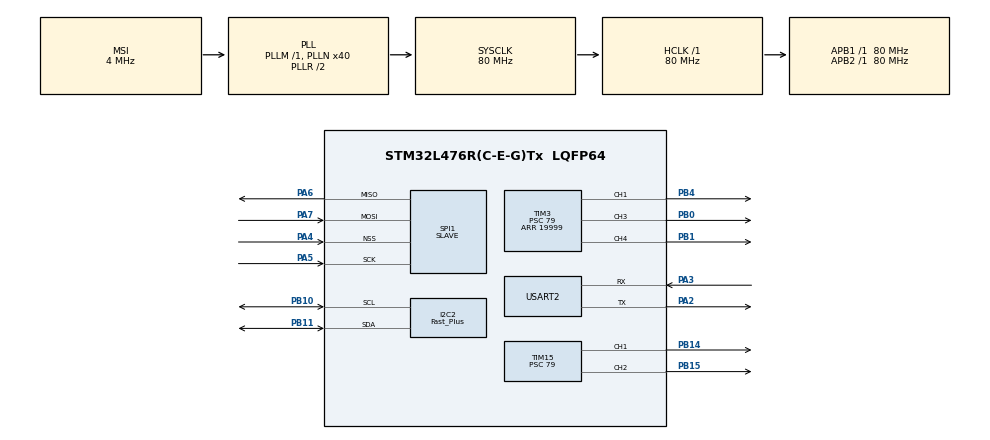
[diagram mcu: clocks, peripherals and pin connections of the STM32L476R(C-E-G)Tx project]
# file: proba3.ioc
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Dma.Request0=USART2_TX
Dma.Request1=SPI1_RX
Dma.SPI1_RX.1.Direction=DMA_PERIPH_TO_MEMORY
Dma.SPI1_RX.1.Instance=DMA1_Channel2
Dma.SPI1_RX.1.MemDataAlignment=DMA_MDATAALIGN_BYTE
Dma.SPI1_RX.1.MemInc=DMA_MINC_ENABLE
Dma.SPI1_RX.1.Mode=DMA_NORMAL
Dma.SPI1_RX.1.PeriphDataAlignment=DMA_PDATAALIGN_BYTE
Dma.SPI1_RX.1.PeriphInc=DMA_PINC_DISABLE
Dma.SPI1_RX.1.Priority=DMA_PRIORITY_HIGH
Dma.USART2_TX.0.Direction=DMA_MEMORY_TO_PERIPH
Dma.USART2_TX.0.Instance=DMA1_Channel7
Dma.USART2_TX.0.MemDataAlignment=DMA_MDATAALIGN_BYTE
Dma.USART2_TX.0.MemInc=DMA_MINC_ENABLE
Dma.USART2_TX.0.Mode=DMA_NORMAL
Dma.USART2_TX.0.PeriphDataAlignment=DMA_PDATAALIGN_BYTE
Dma.USART2_TX.0.PeriphInc=DMA_PINC_DISABLE
Dma.USART2_TX.0.Priority=DMA_PRIORITY_LOW
I2C2.I2C_Speed_Mode=I2C_Fast_Plus
I2C2.Timing=0x00B10E24
Mcu.Family=STM32L4
Mcu.Name=STM32L476R(C-E-G)Tx
Mcu.Package=LQFP64
NVIC.DMA1_Channel2_IRQn=true\:0\:0\:false\:false\:true\:false\:true\:true
NVIC.DMA1_Channel7_IRQn=true\:0\:0\:false\:false\:true\:false\:true\:true
NVIC.PriorityGroup=NVIC_PRIORITYGROUP_4
NVIC.TIM1_TRG_COM_TIM17_IRQn=true\:0\:0\:false\:false\:true\:true\:true\:true
NVIC.TIM1_UP_TIM16_IRQn=true\:0\:0\:false\:false\:true\:true\:true\:true
NVIC.TIM6_DAC_IRQn=true\:0\:0\:false\:false\:true\:true\:true\:true
NVIC.TIM7_IRQn=true\:0\:0\:false\:false\:true\:true\:true\:true
NVIC.USART2_IRQn=true\:0\:0\:false\:false\:true\:true\:true\:true
PA2.Mode=Asynchronous
PA2.Signal=USART2_TX
PA3.Mode=Asynchronous
PA3.Signal=USART2_RX
PA4.Mode=NSS_Signal_Hard_Input
PA4.Signal=SPI1_NSS
PA5.Mode=Full_Duplex_Slave
PA5.Signal=SPI1_SCK
PA6.Mode=Full_Duplex_Slave
PA6.Signal=SPI1_MISO
PA7.Mode=Full_Duplex_Slave
PA7.Signal=SPI1_MOSI
PB0.Signal=S_TIM3_CH3
PB1.Signal=S_TIM3_CH4
PB10.GPIO_Pu=GPIO_PULLUP
PB10.Mode=I2C
PB10.Signal=I2C2_SCL
PB11.Mode=I2C
PB11.Signal=I2C2_SDA
PB14.Signal=S_TIM15_CH1
PB15.Signal=S_TIM15_CH2
PB4\ (NJTRST).Signal=S_TIM3_CH1
ProjectManager.HeapSize=0x200
ProjectManager.StackSize=0x400
ProjectManager.TargetToolchain=STM32CubeIDE
RCC.ADCFreq_Value=16000000
RCC.AHBFreq_Value=80000000
RCC.APB1Freq_Value=80000000
RCC.APB1TimFreq_Value=80000000
RCC.APB2Freq_Value=80000000
RCC.APB2TimFreq_Value=80000000
RCC.CortexFreq_Value=80000000
RCC.HCLKFreq_Value=80000000
RCC.HSE_VALUE=8000000
RCC.HSI_VALUE=16000000
RCC.LSE_VALUE=32768
RCC.MSI_VALUE=4000000
RCC.PLLN=40
RCC.SYSCLKFreq_VALUE=80000000
RCC.SYSCLKSource=RCC_SYSCLKSOURCE_PLLCLK
RCC.USBFreq_Value=16000000
RCC.VCOOutputFreq_Value=160000000
SH.S_TIM15_CH1.0=TIM15_CH1,PWM Generation1 CH1
SH.S_TIM15_CH2.0=TIM15_CH2,PWM Generation2 CH2
SH.S_TIM3_CH1.0=TIM3_CH1,PWM Generation1 CH1
SH.S_TIM3_CH3.0=TIM3_CH3,PWM Generation3 CH3
SH.S_TIM3_CH4.0=TIM3_CH4,PWM Generation4 CH4
SPI1.DataSize=SPI_DATASIZE_8BIT
SPI1.Direction=SPI_DIRECTION_2LINES
SPI1.Mode=SPI_MODE_SLAVE
SPI1.VirtualNSS=VM_NSSHARD
SPI1.VirtualType=VM_SLAVE
TIM15.Channel-PWM\ Generation1\ CH1=TIM_CHANNEL_1
TIM15.Channel-PWM\ Generation2\ CH2=TIM_CHANNEL_2
TIM15.Period=19999
TIM15.Prescaler=79
TIM16.Period=999
TIM16.Prescaler=7999
TIM17.Period=999
TIM17.Prescaler=79
TIM3.Channel-PWM\ Generation1\ CH1=TIM_CHANNEL_1
TIM3.Channel-PWM\ Generation3\ CH3=TIM_CHANNEL_3
TIM3.Channel-PWM\ Generation4\ CH4=TIM_CHANNEL_4
TIM3.Period=19999
TIM3.Prescaler=79
TIM6.Period=29999
TIM6.Prescaler=7999
TIM7.Period=19
TIM7.Prescaler=7999
USART2.VirtualMode-Asynchronous=VM_ASYNC
VP_TIM16_VS_ClockSourceINT.Mode=Enable_Timer
VP_TIM17_VS_ClockSourceINT.Mode=Enable_Timer
VP_TIM6_VS_ClockSourceINT.Mode=Enable_Timer
VP_TIM7_VS_ClockSourceINT.Mode=Enable_Timer
board=custom

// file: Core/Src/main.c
/* USER CODE BEGIN Header */
/**
  ******************************************************************************
  * @file           : main.c
  * @brief          : Main program body
  ******************************************************************************
  * @attention
  *
  * Copyright (c) 2025 STMicroelectronics.
  * All rights reserved.
  *
  * This software is licensed under terms that can be found in the LICENSE file
  * in the root directory of this software component.
  * If no LICENSE file comes with this software, it is provided AS-IS.
  *
  ******************************************************************************
  */
/* USER CODE END Header */
#include "main.h"

/* USER CODE BEGIN Includes */
#include <stdio.h>
#include <stdbool.h>
#include <string.h>
#include <math.h>
#include <stdint.h>

/* USER CODE END Includes */

/* USER CODE BEGIN PTD */
#define MPU9250_ADDR (0x68 << 1)
#define AK8963_ADDR  (0x0C << 1)

#define FRAME_MARKER 699
#define RPI_CONTROL_TIMEOUT_MS 400

// Rejestry MPU9250
#define REG_PWR_MGMT_1   0x6B
#define REG_USER_CTRL    0x6A
#define REG_INT_PIN_CFG  0x37
#define REG_ACCEL_XOUT_H 0x3B

//inne
#define INTEGRATOR_LIMIT 30.0f

// Rejestry magnetometru AK8963
#define AK8963_REG_CNTL1 0x0A
#define AK8963_REG_HXL   0x03
#define TELEMETRY_BUF_LEN 152

volatile float sin_phase = 0.0f;

#define SIN_AMPL_DEG 8.0f
#define SIN_FREQ_HZ 0.1f

#define MOTOR1_TIM      (&htim3)
#define MOTOR1_CH       TIM_CHANNEL_4

#define MOTOR2_TIM      (&htim15)
#define MOTOR2_CH       TIM_CHANNEL_2

#define MOTOR3_TIM      (&htim3)
#define MOTOR3_CH       TIM_CHANNEL_1

#define MOTOR4_TIM      (&htim15)
#define MOTOR4_CH       TIM_CHANNEL_1

#define GYRO_RATE_LIMIT 300.0f // deg/s, na start

#define PWM_MIN           1150
#define PWM_MAX           1500

#define PWM_MIN_M2           1150
#define PWM_MAX_M2           1500

#define PWM_MIN_M1        1350
#define PWM_MAX_M1        1700
#define PWM_MIN_M4         930
#define PWM_MAX_M4        1280

#define MAX_PWM_STEP_ALL  15U

#define ANGLE_DT (0.005f)  // 200 Hz

#define LEFT_FRONT_MOTOR   1
#define RIGHT_FRONT_MOTOR  2
#define RIGHT_REAR_MOTOR   3
#define LEFT_REAR_MOTOR    4

/* USER CODE END PTD */

/* USER CODE BEGIN PD */

typedef enum {
    ANGLE_SEQ_0,
    ANGLE_SEQ_1,
    ANGLE_SEQ_2,
    ANGLE_SEQ_3
} angle_seq_t;

volatile angle_seq_t angle_seq = ANGLE_SEQ_0;

volatile float desired_roll_deg  = 0.0f;
volatile float desired_pitch_deg = 0.0f;

volatile uint8_t imu_flag = 0;
volatile uint8_t imu_initialized = 0;
volatile float gyro_off_x = 0.0f, gyro_off_y = 0.0f, gyro_off_z = 0.0f;
volatile bool czy_zgoda_na_prace = false;

volatile bool czy_zgoda_na_prace_rpi5 = false;

volatile bool tilt_kill_active = false;

const float TILT_LIMIT_DEG = 40.0f;

volatile uint8_t spi_rx_ready = 0;    // flaga: nowy komplet danych gotowy do parsowania
volatile uint8_t spi_rx_buf[24];   // bufor odbiorczy DMA/IT - volatile bo modyfikowany w callback

float q0 = 1.0f, q1 = 0.0f, q2 = 0.0f, q3 = 0.0f;
float beta = 0.05f; // Madgwick gain

volatile uint8_t uart_tx_busy = 0;
static char telemetry_buf[2][TELEMETRY_BUF_LEN];
static uint8_t telemetry_idx = 0;

const float THROTTLE_MIN = 0.0f;
const float THROTTLE_MAX = 1.0f;
/* PID and filters */
typedef struct {
    float kp;
    float ki;
    float kd;

    float integrator;
    float last_error;
    float last_measurement;

    float output_min;
    float output_max;
} PID_t;

static inline float pid_update_rate(PID_t *pid,
                                    float setpoint,
                                    float measurement,
                                    float dt)
{
    if (dt <= 0.0f) return 0.0f;

    float error = setpoint - measurement;

    pid->integrator += error * dt;

    if (pid->integrator > INTEGRATOR_LIMIT)  pid->integrator = INTEGRATOR_LIMIT;
    if (pid->integrator < -INTEGRATOR_LIMIT) pid->integrator = -INTEGRATOR_LIMIT;

    float derivative = -(measurement - pid->last_measurement) / dt;
    pid->last_measurement = measurement;

    /* PID RAW */
    float out_p = pid->kp * error;
    float out_i = pid->ki * pid->integrator;
    float out_d = pid->kd * derivative;

    float out = out_p + out_i + out_d;

    if (out > pid->output_max) {
        out = pid->output_max;
        out_d = 0.0f;
    }
    if (out < pid->output_min) {
        out = pid->output_min;
        out_d = 0.0f;
    }

    return out;
}

PID_t pid_rate_roll = {
    .kp = 0.3f,
    .ki = 0.02f,
    .kd = 0.02f,
    .integrator = 0.0f,
    .last_error = 0.0f,
    .last_measurement = 0.0f,
    .output_min = -12.0f,
    .output_max =  12.0f
};

PID_t pid_rate_pitch = {
    .kp = 0.3f,
    .ki = 0.02f,
    .kd = 0.02f,
    .integrator = 0.0f,
    .last_error = 0.0f,
    .last_measurement = 0.0f,
    .output_min = -12.0f,
    .output_max =  12.0f
};

PID_t pid_rate_yaw = {
    .kp = 0.10f,
    .ki = 0.0f,
    .kd = 0.0f,
    .integrator = 0.0f,
    .last_error = 0.0f,
    .last_measurement = 0.0f,
    .output_min = -12.0f,
    .output_max =  12.0f
};

// Angle PIDs
PID_t pid_angle_roll = {
    .kp = 2.0f,
    .ki = 0.02f,
    .kd = 0.04f,
	.integrator = 0,
	    .last_error = 0,
    .output_min = -12.0f,
    .output_max = 12.0f
};

PID_t pid_angle_pitch = {
    .kp = 2.0f,
    .ki = 0.02f,
    .kd = 0.04f,
	.integrator = 0,
	    .last_error = 0,
    .output_min = -12.0f,
    .output_max = 12.0f
};

typedef struct
{   float a;
	float last;
	int init;
} LPF_t;

void lpf_init(LPF_t *f, float a)
	{ f->a = a;
	f->last = 0.0f;
	f->init = 0; }

float lpf_apply(LPF_t *f, float x) {
    if (!f->init)
    	{
    f->last = x;
    f->init = 1;
    return x;
    	}

    f->last = f->last * (1.0f - f->a) + x * f->a;
    return f->last;
}
LPF_t lpf_roll, lpf_pitch;
/* USER CODE END PD */

I2C_HandleTypeDef hi2c2;

SPI_HandleTypeDef hspi1;
DMA_HandleTypeDef hdma_spi1_rx;

TIM_HandleTypeDef htim3;
TIM_HandleTypeDef htim6;
TIM_HandleTypeDef htim7;
TIM_HandleTypeDef htim15;
TIM_HandleTypeDef htim16;
TIM_HandleTypeDef htim17;

UART_HandleTypeDef huart2;
DMA_HandleTypeDef hdma_usart2_tx;

void SystemClock_Config(void);
static void MX_GPIO_Init(void);
static void MX_DMA_Init(void);
static void MX_TIM3_Init(void);
static void MX_USART2_UART_Init(void);
static void MX_SPI1_Init(void);
static void MX_TIM15_Init(void);
static void MX_TIM6_Init(void);
static void MX_I2C2_Init(void);
static void MX_TIM7_Init(void);
static void MX_TIM17_Init(void);
static void MX_TIM16_Init(void);

/* USER CODE BEGIN 0 */
static inline void DWT_Init(void)
{
    if (!(CoreDebug->DEMCR & CoreDebug_DEMCR_TRCENA_Msk))
        CoreDebug->DEMCR |= CoreDebug_DEMCR_TRCENA_Msk;
    DWT->CYCCNT = 0;
    DWT->CTRL |= DWT_CTRL_CYCCNTENA_Msk;
}
static inline uint32_t micros(void)
{
    return (uint32_t)(DWT->CYCCNT / (HAL_RCC_GetHCLKFreq() / 1000000UL));
}

void MPU9250_Init(void) {
    uint8_t cmd;

    // wybudzenie, wyczyść sleep
    cmd = 0x00;
    HAL_I2C_Mem_Write(&hi2c2, MPU9250_ADDR, REG_PWR_MGMT_1, 1, &cmd, 1, 100);
    HAL_Delay(10);

    // wyłącz kontrolę użytkownika (FIFO itp.)
    cmd = 0x00;
    HAL_I2C_Mem_Write(&hi2c2, MPU9250_ADDR, REG_USER_CTRL, 1, &cmd, 1, 100);

    // INT_PIN_CFG ustaw
    cmd = 0x02;
    HAL_I2C_Mem_Write(&hi2c2, MPU9250_ADDR, REG_INT_PIN_CFG, 1, &cmd, 1, 100);

    HAL_Delay(10);

    // ustawienia zakresów:
    // GYRO_CONFIG (0x1B) -> FS_SEL = 01 -> ±500 dps -> 0x08
    cmd = 0x08;
    HAL_I2C_Mem_Write(&hi2c2, MPU9250_ADDR, 0x1B, 1, &cmd, 1, 100);

    // ACCEL_CONFIG (0x1C) -> AFS_SEL = 00 -> ±2 g -> 0x00
    cmd = 0x00;
    HAL_I2C_Mem_Write(&hi2c2, MPU9250_ADDR, 0x1C, 1, &cmd, 1, 100);

    // ACCEL_CONFIG2 (0x1D) -> DLPF ustawione na ~44Hz (wartość 0x03)
    cmd = 0x03;
    HAL_I2C_Mem_Write(&hi2c2, MPU9250_ADDR, 0x1D, 1, &cmd, 1, 100);

    HAL_Delay(10);

    // ustawienie AK8963 (mag) pozostawione bez zmian
    cmd = 0x16;
    HAL_I2C_Mem_Write(&hi2c2, AK8963_ADDR, AK8963_REG_CNTL1, 1, &cmd, 1, 100);
}

void Read_Sensors(float *ax, float *ay, float *az, float *gx, float *gy, float *gz,
                  float *mx, float *my, float *mz) {
    uint8_t buf[14];
    HAL_I2C_Mem_Read(&hi2c2, MPU9250_ADDR, REG_ACCEL_XOUT_H, 1, buf, 14, 100);
    int16_t ax_raw = (buf[0] << 8) | buf[1];
    int16_t ay_raw = (buf[2] << 8) | buf[3];
    int16_t az_raw = (buf[4] << 8) | buf[5];
    int16_t gx_raw = (buf[8]  << 8) | buf[9];
    int16_t gy_raw = (buf[10] << 8) | buf[11];
    int16_t gz_raw = (buf[12] << 8) | buf[13];

    const float ACCEL_SCALE = 16384.0f; // ±2 g
    const float GYRO_SCALE  = 65.536f;  // ±500 °/s

    *ax = ax_raw / ACCEL_SCALE;
    *ay = ay_raw / ACCEL_SCALE;
    *az = az_raw / ACCEL_SCALE;
    *gx = gx_raw / GYRO_SCALE;
    *gy = gy_raw / GYRO_SCALE;
    *gz = gz_raw / GYRO_SCALE;

    uint8_t mag[6];
    HAL_I2C_Mem_Read(&hi2c2, AK8963_ADDR, AK8963_REG_HXL, 1, mag, 6, 100);
    int16_t mx_raw = (mag[1] << 8) | mag[0];
    int16_t my_raw = (mag[3] << 8) | mag[2];
    int16_t mz_raw = (mag[5] << 8) | mag[4];
    *mx = mx_raw * 0.15f;
    *my = my_raw * 0.15f;
    *mz = mz_raw * 0.15f;
}

void MadgwickAHRSupdateIMU_dt(float gx, float gy, float gz,
                              float ax, float ay, float az,
                              float *q1, float *q2, float *q3, float *q0,
                              float beta, float dt)
{
    float recipNorm;
    float s0, s1, s2, s3;
    float qDot0, qDot1, qDot2, qDot3;

    float _2q0 = 2.0f * (*q0);
    float _2q1 = 2.0f * (*q1);
    float _2q2 = 2.0f * (*q2);
    float _2q3 = 2.0f * (*q3);
    float _4q0 = 4.0f * (*q0);
    float _4q1 = 4.0f * (*q1);
    float _4q2 = 4.0f * (*q2);

    float q0q0 = (*q0) * (*q0);
    float q1q1 = (*q1) * (*q1);
    float q2q2 = (*q2) * (*q2);
    float q3q3 = (*q3) * (*q3);

    recipNorm = sqrtf(ax * ax + ay * ay + az * az);
    if (recipNorm <= 0.0f) return;
    recipNorm = 1.0f / recipNorm;
    ax *= recipNorm; ay *= recipNorm; az *= recipNorm;

    s0 = _4q0 * q2q2 + _2q2 * ax + _4q0 * q1q1 - _2q1 * ay;
    s1 = _4q1 * q3q3 - _2q3 * ax + 4.0f * q0q0 * (*q1) - _2q0 * ay - _4q1 + _4q1 * az;
    s2 = 4.0f * q0q0 * (*q2) + _2q0 * ax + _4q2 * q3q3 - _2q3 * ay - _4q2 + _4q2 * az;
    s3 = 4.0f * q1q1 * (*q3) - _2q1 * ax + 4.0f * q2q2 * (*q3) - _2q2 * ay;

    recipNorm = 1.0f / sqrtf(s0*s0 + s1*s1 + s2*s2 + s3*s3);
    s0 *= recipNorm; s1 *= recipNorm; s2 *= recipNorm; s3 *= recipNorm;

    qDot0 = 0.5f * (-(*q1)*gx - (*q2)*gy - (*q3)*gz) - beta * s0;
    qDot1 = 0.5f * ((*q0)*gx + (*q2)*gz - (*q3)*gy) - beta * s1;
    qDot2 = 0.5f * ((*q0)*gy - (*q1)*gz + (*q3)*gx) - beta * s2;
    qDot3 = 0.5f * ((*q0)*gz + (*q1)*gy - (*q2)*gx) - beta * s3;

    *q0 += qDot0 * dt;
    *q1 += qDot1 * dt;
    *q2 += qDot2 * dt;
    *q3 += qDot3 * dt;

    recipNorm = 1.0f / sqrtf((*q0)*(*q0) + (*q1)*(*q1) + (*q2)*(*q2) + (*q3)*(*q3));
    *q0 *= recipNorm; *q1 *= recipNorm; *q2 *= recipNorm; *q3 *= recipNorm;
}

int send_telemetry_dma(const char *text, size_t len)
{
    if (len == 0 || len > TELEMETRY_BUF_LEN) return 1;
    if (uart_tx_busy) return 1;
    	telemetry_idx ^= 1;
    memcpy(telemetry_buf[telemetry_idx], text, len);
    uart_tx_busy = 1;
    if (HAL_UART_Transmit_DMA(&huart2, (uint8_t*)telemetry_buf[telemetry_idx], len) != HAL_OK) {
        uart_tx_busy = 0;
        return 1;
    }
    return 0;
}

void HAL_UART_TxCpltCallback(UART_HandleTypeDef *huart)
{
	uart_tx_busy = 0;

}

static inline void mixer_quad_x(float throttle, float roll_cmd, float pitch_cmd, float yaw_cmd,
                                uint32_t *out1, uint32_t *out2, uint32_t *out3, uint32_t *out4)
{

    // M1: lewy przód
       float m1 = throttle + roll_cmd - pitch_cmd + yaw_cmd;

       // M2: prawy przód
       float m2 = throttle - roll_cmd - pitch_cmd - yaw_cmd;

       // M3: prawy tył
       float m3 = throttle - roll_cmd + pitch_cmd + yaw_cmd;

       // M4: lewy tył
       float m4 = throttle + roll_cmd + pitch_cmd - yaw_cmd;
    // clamp 0..1
    if (m1 < 0.0f) m1 = 0.0f; if (m1 > 1.0f) m1 = 1.0f;
    if (m2 < 0.0f) m2 = 0.0f; if (m2 > 1.0f) m2 = 1.0f;
    if (m3 < 0.0f) m3 = 0.0f; if (m3 > 1.0f) m3 = 1.0f;
    if (m4 < 0.0f) m4 = 0.0f; if (m4 > 1.0f) m4 = 1.0f;

    const int32_t pwm_min = PWM_MIN;
    const int32_t pwm_max = PWM_MAX;
    const int32_t pwm_min_m1 = PWM_MIN_M1;
    const int32_t pwm_max_m1 = PWM_MAX_M1;

    const int32_t pwm_min_m2 = PWM_MIN_M2;
     const int32_t pwm_max_m2 = PWM_MAX_M2;

    const int32_t pwm_min_m4 = PWM_MIN_M4;
    const int32_t pwm_max_m4 = PWM_MAX_M4;

    int32_t p1 = pwm_min_m1 + (int32_t)((pwm_max_m1 - pwm_min_m1) * m1 + 0.5f);
    int32_t p2 = pwm_min_m2 + (int32_t)((pwm_max_m2 - pwm_min_m2) * m2 + 0.5f);
    int32_t p3 = pwm_min + (int32_t)((pwm_max - pwm_min) * m3 + 0.5f);
    int32_t p4 = pwm_min_m4 + (int32_t)((pwm_max_m4 - pwm_min_m4) * m4 + 0.5f);

    if (p1 < pwm_min_m1) p1 = pwm_min_m1;
    if (p1 > pwm_max_m1) p1 = pwm_max_m1;
    if (p2 < pwm_min_m2) p2 = pwm_min_m2;
    if (p2 > pwm_max_m2) p2 = pwm_max_m2;
    if (p3 < pwm_min) p3 = pwm_min;
    if (p3 > pwm_max) p3 = pwm_max;
    if (p4 < pwm_min_m4) p4 = pwm_min_m4;
    if (p4 > pwm_max_m4) p4 = pwm_max_m4;

    *out1 = (uint32_t)p1;
    *out2 = (uint32_t)p2;
    *out3 = (uint32_t)p3;
    *out4 = (uint32_t)p4;
}

void calibrate_gyro(uint16_t samples)
{
    float ax, ay, az, gx, gy, gz, mx, my, mz;
    float sx = 0, sy = 0, sz = 0;
    for (uint16_t i = 0; i < samples; ++i)
    {
        Read_Sensors(&ax, &ay, &az, &gx, &gy, &gz, &mx, &my, &mz);
        sx += gx; sy += gy; sz += gz;
        HAL_Delay(2);
    }
    gyro_off_x = sx / samples;
    gyro_off_y = sy / samples;
    gyro_off_z = sz / samples;
}

void HAL_TIM_PeriodElapsedCallback(TIM_HandleTypeDef *htim)
{
    if (htim->Instance == TIM6) {
        HAL_TIM_Base_Stop_IT(htim);
        __HAL_TIM_SET_COMPARE(&htim3, TIM_CHANNEL_1, 800);
       // __HAL_TIM_SET_COMPARE(&htim3, TIM_CHANNEL_4, 1000);
        __HAL_TIM_SET_COMPARE(&htim15, TIM_CHANNEL_1, 800);
        __HAL_TIM_SET_COMPARE(&htim15, TIM_CHANNEL_2, 800);
        czy_zgoda_na_prace = true;
    }
    if (htim->Instance == TIM17) {
        imu_flag = 1;
    }
    if (htim->Instance == TIM16)
    {
        // krok fazy = 2π * f * dt
        // TIM16 u Ciebie: Prescaler=7999, Period=49999
        // => ~1 Hz przerwanie (co 1s)
        // więc dt ≈ 1.0f

        float dt = 0.1f;

        sin_phase += 2.0f * M_PI * SIN_FREQ_HZ * dt;
        if (sin_phase > 2.0f * M_PI)
            sin_phase -= 2.0f * M_PI;

        // SINUS
        desired_roll_deg  = SIN_AMPL_DEG * sinf(sin_phase);
        desired_pitch_deg = SIN_AMPL_DEG * sinf(sin_phase); // przesunięcie 90°

        // opcjonalnie: zeruj integratory przy wolnym ruchu
        pid_angle_roll.integrator  = 0.0f;
        pid_angle_pitch.integrator = 0.0f;
    }

}
void motors_start_with_timer(void)
{ //funkcja resetujaca sterowniki silnikow
	czy_zgoda_na_prace = false;
    uint32_t w = 900;

   // __HAL_TIM_SET_COMPARE(&htim3, TIM_CHANNEL_4,1200 ); //lewa gora

    // Ustaw wypełnienie początkowe
    __HAL_TIM_SET_COMPARE(&htim3, TIM_CHANNEL_1, w);

    __HAL_TIM_SET_COMPARE(&htim15, TIM_CHANNEL_1, w);
    __HAL_TIM_SET_COMPARE(&htim15, TIM_CHANNEL_2, w);

    // Start TIM6 w trybie przerwania
    HAL_TIM_Base_Start_IT(&htim6);

}

static inline void set_motor_pwm_by_index(uint8_t motor_idx, uint32_t pwm_value)
{
    TIM_HandleTypeDef *tim = NULL;
    uint32_t channel = 0;

    switch(motor_idx) {
        case 1: tim = MOTOR1_TIM; channel = MOTOR1_CH; break;
        case 2: tim = MOTOR2_TIM; channel = MOTOR2_CH; break;
        case 3: tim = MOTOR3_TIM; channel = MOTOR3_CH; break;
        case 4: tim = MOTOR4_TIM; channel = MOTOR4_CH; break;
        default: return;
    }
    __HAL_TIM_SET_COMPARE(tim, channel, pwm_value);
}

void HAL_SPI_RxCpltCallback(SPI_HandleTypeDef *hspi)
{
    if (hspi == &hspi1) {
        // nowy komplet danych gotowy
        spi_rx_ready = 1;
        // restart odbioru DMA (ciągły tryb)
        HAL_SPI_Receive_DMA(&hspi1, (uint8_t*)spi_rx_buf, sizeof(spi_rx_buf));
    }
}

static inline uint8_t parse_frame_and_apply(const uint8_t *buf,
                                            float *desired_roll_deg,
                                            float *desired_pitch_deg,
                                            float *desired_yaw_rate,
                                            float *throttle,
                                            bool  *start_flag)
{
    uint32_t m;
    memcpy(&m, buf + 0, 4);
    if (m == 699U) {
        float f_pitch, f_roll, f_yaw, f_throttle, f_flag;
        memcpy(&f_pitch,    buf + 4,  4); //pitch
        memcpy(&f_roll,     buf + 8,  4); // roll
        memcpy(&f_yaw,      buf + 12, 4); // yaw
        memcpy(&f_throttle, buf + 16, 4); //throttel
        memcpy(&f_flag,     buf + 20, 4); //flag

        if (f_roll >  4.0f) f_roll =  4.0f;
        if (f_roll < -4.0f) f_roll = -4.0f;
        if (f_pitch >  4.0f) f_pitch =  4.0f;
        if (f_pitch < -4.0f) f_pitch = -4.0f;
        if (f_yaw >  30.0f) f_yaw =  30.0f;
        if (f_yaw < -30.0f) f_yaw = -30.0f;
        if (f_throttle > THROTTLE_MAX) f_throttle = THROTTLE_MAX;
        if (f_throttle < THROTTLE_MIN) f_throttle = THROTTLE_MIN;

        *desired_roll_deg  = f_roll;
        *desired_pitch_deg = f_pitch;
        *desired_yaw_rate  = f_yaw;
        *throttle          = f_throttle;
        *start_flag        = (f_flag >= 0.5f) ? true : false;

        return 1;
    }

    memcpy(&m, buf + 4, 4);
    if (m == 699U) {
        float f_pitch, f_roll, f_yaw, f_throttle, f_flag;
        memcpy(&f_pitch,    buf + 0,  4);
        memcpy(&f_roll,     buf + 8,  4);
        memcpy(&f_yaw,      buf + 12, 4);
        memcpy(&f_throttle, buf + 16, 4);
        memcpy(&f_flag,     buf + 20, 4);

        if (f_roll >  4.0f) f_roll =  4.0f;
        if (f_roll < -4.0f) f_roll = -4.0f;
        if (f_pitch >  4.0f) f_pitch =  4.0f;
        if (f_pitch < -4.0f) f_pitch = -4.0f;
        if (f_yaw >  30.0f) f_yaw =  30.0f;
        if (f_yaw < -30.0f) f_yaw = -30.0f;
        if (f_throttle > THROTTLE_MAX) f_throttle = THROTTLE_MAX;
        if (f_throttle < THROTTLE_MIN) f_throttle = THROTTLE_MIN;

        *desired_roll_deg  = f_roll;
        *desired_pitch_deg = f_pitch;
        *desired_yaw_rate  = f_yaw;
        *throttle          = f_throttle;
        *start_flag        = (f_flag >= 0.5f) ? true : false;

        return 1;
    }

    return 0;
}

static inline float constrain(float v, float lo, float hi)
{
    if (v < lo) return lo;
    if (v > hi) return hi;
    return v;
}

static uint32_t prev_pwm_1 = PWM_MIN_M1;
static uint32_t prev_pwm_2 = PWM_MIN_M2;
static uint32_t prev_pwm_3 = PWM_MIN;
static uint32_t prev_pwm_4 = PWM_MIN_M4;

static inline void apply_safe_pwm_all(uint8_t motor_idx, uint32_t target_pwm)
{

    uint32_t minv = PWM_MIN, maxv = PWM_MAX;
    uint32_t *prev = NULL;

    if (motor_idx == 1) { minv = PWM_MIN_M1; maxv = PWM_MAX_M1; prev = &prev_pwm_1; }
    else if (motor_idx == 2) { minv = PWM_MIN_M2; maxv = PWM_MAX_M2; prev = &prev_pwm_2; }
    else if (motor_idx == 3) { minv = PWM_MIN; maxv = PWM_MAX; prev = &prev_pwm_3; }
    else if (motor_idx == 4) { minv = PWM_MIN_M4; maxv = PWM_MAX_M4; prev = &prev_pwm_4; }
    else return;

    // clamp do zakresu
    if (target_pwm < minv) target_pwm = minv;
    if (target_pwm > maxv) target_pwm = maxv;

    // jeśli prev==0 to zainicjuj
    if (*prev == 0) *prev = target_pwm;

    // slew limiter
    if (target_pwm > *prev) {
        uint32_t diff = target_pwm - *prev;
        if (diff > MAX_PWM_STEP_ALL) target_pwm = *prev + MAX_PWM_STEP_ALL;
    } else if (*prev > target_pwm) {
        uint32_t diff = *prev - target_pwm;
        if (diff > MAX_PWM_STEP_ALL) target_pwm = *prev - MAX_PWM_STEP_ALL;
    }

    *prev = target_pwm;

    set_motor_pwm_by_index(motor_idx, target_pwm);
}

/* USER CODE END 0 */

int main(void)
{

  /* MCU Configuration--------------------------------------------------------*/

  /* Reset of all peripherals, Initializes the Flash interface and the Systick. */
  HAL_Init();

  /* Configure the system clock */
  SystemClock_Config();

  /* Initialize all configured peripherals */
  MX_GPIO_Init();
  MX_DMA_Init();
  MX_TIM3_Init();
  MX_USART2_UART_Init();
  MX_SPI1_Init();
  MX_TIM15_Init();
  MX_TIM6_Init();
  MX_I2C2_Init();
  MX_TIM7_Init();
  MX_TIM17_Init();
  MX_TIM16_Init();
  /* USER CODE BEGIN 2 */

 HAL_TIM_PWM_Start(&htim3, TIM_CHANNEL_1);
  HAL_TIM_PWM_Start(&htim15, TIM_CHANNEL_2);
  HAL_TIM_PWM_Start(&htim15, TIM_CHANNEL_1);
 HAL_TIM_PWM_Start(&htim3, TIM_CHANNEL_4);
 HAL_TIM_PWM_Start(&htim3, TIM_CHANNEL_3);

 HAL_SPI_Receive_DMA(&hspi1, (uint8_t*)spi_rx_buf, sizeof(spi_rx_buf));

 DWT_Init();
 HAL_Delay(50);
 MPU9250_Init();
 HAL_Delay(50);
 calibrate_gyro(1000);
 HAL_Delay(1500);
 imu_initialized = 1;
 HAL_Delay(1000);

 pid_rate_roll.integrator  = 0.0f; pid_rate_roll.last_error  = 0.0f;
 pid_rate_pitch.integrator = 0.0f; pid_rate_pitch.last_error = 0.0f;
 pid_rate_yaw.integrator   = 0.0f; pid_rate_yaw.last_error   = 0.0f;
 pid_angle_roll.integrator = 0.0f; pid_angle_roll.last_error = 0.0f;
 pid_angle_pitch.integrator= 0.0f; pid_angle_pitch.last_error= 0.0f;

 static LPF_t lpf_gx, lpf_gy;

 lpf_init(&lpf_gx, 0.3f);
 lpf_init(&lpf_gy, 0.3f);

 HAL_TIM_Base_Start_IT(&htim17);

 uint32_t last_us = micros();
 uint32_t outer_counter = 0;
 const uint32_t outer_ratio = 4; // angle loop 200 Hz

// zadane wartosci roll i pitch

// potrzebne do kalibracji zyro
 static float roll_zero = 0.0f;
 static float pitch_zero = 0.0f;
 static uint8_t zero_offsets_captured = 0;

 float roll_corrected = 0.0f;
 float pitch_corrected = 0.0f;

 float desired_yaw_rate  = 0.0f;

 float throttle = 0.25f;

  /* USER CODE END 2 */

  /* Infinite loop */
  /* USER CODE BEGIN WHILE */

 uint8_t local_buf[24];
 static uint32_t last_frame_ms = 0;   /* czas ostatniej poprawnej ramki */

 __HAL_TIM_SET_COMPARE(&htim3, TIM_CHANNEL_4,1200 ); //lewa gora
 __HAL_TIM_SET_COMPARE(&htim15, TIM_CHANNEL_2, 940); // praswy przod
	   __HAL_TIM_SET_COMPARE(&htim3, TIM_CHANNEL_1, 920); //prawy tyl
	__HAL_TIM_SET_COMPARE(&htim15, TIM_CHANNEL_1, 900 ); //lewy tyl

HAL_Delay(5000);
__HAL_TIM_SET_COMPARE(&htim3, TIM_CHANNEL_4,1300 ); //lewa gora
  __HAL_TIM_SET_COMPARE(&htim15, TIM_CHANNEL_2, 1100); // praswy przod
	   __HAL_TIM_SET_COMPARE(&htim3, TIM_CHANNEL_1, 1100); //prawy tyl
		__HAL_TIM_SET_COMPARE(&htim15, TIM_CHANNEL_1, 950 ); //lewy tyl

HAL_Delay(2000);
__HAL_TIM_SET_COMPARE(&htim3, TIM_CHANNEL_4,1000 ); //lewa gora
__HAL_TIM_SET_COMPARE(&htim15, TIM_CHANNEL_2, 920); // praswy przod
	   __HAL_TIM_SET_COMPARE(&htim3, TIM_CHANNEL_1, 900);
		__HAL_TIM_SET_COMPARE(&htim15, TIM_CHANNEL_1, 900 ); //lewy tyl

HAL_Delay(5000);
float roll_rate_out  = 0.0f;
float pitch_rate_out = 0.0f;
float yaw_rate_out   = 0.0f;
static uint8_t angle_div = 0;

HAL_TIM_Base_Start_IT(&htim16);

  while (1)
  {
    /* USER CODE END WHILE */

    /* USER CODE BEGIN 3 */

//if(czy_zgoda_na_prace)
//{
//    uint32_t w = 920;  // lub 0, zależnie jak Twoje ESC reagują
//	  	   __HAL_TIM_SET_COMPARE(&htim3, TIM_CHANNEL_1, 1100);
//	  		        // __HAL_TIM_SET_COMPARE(&htim3, TIM_CHANNEL_4, 1300);  //lewo gora
//	  		    //     __HAL_TIM_SET_COMPARE(&htim15, TIM_CHANNEL_1, 950); //lewy tyl
//	  		         __HAL_TIM_SET_COMPARE(&htim15, TIM_CHANNEL_2, 1100); // praswy przod
//}

//
//			  			     __HAL_TIM_SET_COMPARE(&htim3, TIM_CHANNEL_1, w); //prawy tyl i kreci sie dobrze
//
//			  					    __HAL_TIM_SET_COMPARE(&htim3, TIM_CHANNEL_4, w ); //lewy gora i kerci sie dobrez
//
//			  					     __HAL_TIM_SET_COMPARE(&htim15, TIM_CHANNEL_1, w ); //lewy tyl i kreci sie dobrze
//
//
//			  					     __HAL_TIM_SET_COMPARE(&htim15, TIM_CHANNEL_2, 1000);  // prawy przdo i kreci sie dobrez ale od 1000
////			  					     HAL_Delay(1500);
//
//	  if (spi_rx_ready) {
//	          spi_rx_ready = 0;
//	          memcpy(local_buf, (const void*)spi_rx_buf, sizeof(local_buf));
//
//	         uint8_t ok = parse_frame_and_apply(local_buf,
//	                                    &desired_roll_deg,
//	                                    &desired_pitch_deg,
//	                                    &desired_yaw_rate,
//	                                    &throttle,
//	                                    &czy_zgoda_na_prace_rpi5) ;
//	         if (ok == 1) {
//	             last_frame_ms = HAL_GetTick();  // zapamiętaj czas ostatniej poprawnej ramki
//	         }
//
//	      }
//
//	  uint32_t now_ms = HAL_GetTick();
//
//	  if (last_frame_ms > 0) {  // jeśli kiedykolwiek przyszła ramka
//	      if ((now_ms - last_frame_ms) > RPI_CONTROL_TIMEOUT_MS) {
//
//
//	          uint32_t w = 300;  // bezpieczny sygnał
//	          czy_zgoda_na_prace_rpi5 = false;  // dodatkowe zabezpieczenie
//
//	          __HAL_TIM_SET_COMPARE(&htim3, TIM_CHANNEL_1, w);
//	          __HAL_TIM_SET_COMPARE(&htim3, TIM_CHANNEL_4, w);
//	          __HAL_TIM_SET_COMPARE(&htim15, TIM_CHANNEL_1, w);
//	          __HAL_TIM_SET_COMPARE(&htim15, TIM_CHANNEL_2, w);
//
//	          throttle = 0.0f;
//	      }
//	  }
//
//	  if (!czy_zgoda_na_prace_rpi5) {
//	      uint32_t w = 200;
//	      __HAL_TIM_SET_COMPARE(&htim3, TIM_CHANNEL_1, w);
//	      __HAL_TIM_SET_COMPARE(&htim3, TIM_CHANNEL_4, w);
//	      __HAL_TIM_SET_COMPARE(&htim15, TIM_CHANNEL_1, w);
//	      __HAL_TIM_SET_COMPARE(&htim15, TIM_CHANNEL_2, w);
//
//	      throttle = 0.0f;  }
// && czy_zgoda_na_prace_rpi5
//(czy_zgoda_na_prace &&
	  czy_zgoda_na_prace_rpi5 = true;
	  if(  imu_flag && imu_initialized) {
	         imu_flag = 0;

	         uint32_t now_us = micros();
	         float dt = (now_us - last_us) * 1e-6f;
	         if (dt <= 0.0f || dt > 0.1f) dt = 0.001f;
	         last_us = now_us;
	         float ax, ay, az, gx, gy, gz, mx, my, mz;
	         Read_Sensors(&ax, &ay, &az, &gx, &gy, &gz, &mx, &my, &mz);

				 gx -= gyro_off_x; gy -= gyro_off_y; gz -= gyro_off_z;
	         const float deg2rad = 3.14159265358979323846f / 180.0f;
	         float gx_rad = gx * deg2rad, gy_rad = gy * deg2rad, gz_rad = gz * deg2rad;

	         MadgwickAHRSupdateIMU_dt(gx_rad, gy_rad, gz_rad, ax, ay, az, &q1, &q2, &q3, &q0, beta, dt);

	         float yaw   = atan2f(2.0f*(q0*q3 + q1*q2), 1.0f - 2.0f*(q2*q2 + q3*q3)) * (180.0f / M_PI);
	         float pitch = asinf(-2.0f*(q1*q3 - q0*q2)) * (180.0f / M_PI);
	         float roll  = atan2f(2.0f*(q0*q1 + q2*q3), 1.0f - 2.0f*(q1*q1 + q2*q2)) * (180.0f / M_PI);

	         // IMU obrócone o +90° wokół Z (bokiem)
	         float roll_f  =  pitch;
	         float pitch_f = -roll;

	         float gx_body =  gy;
	         float gy_body = -gx;
	         float gz_body =  gz;

	         if (gx_body >  GYRO_RATE_LIMIT) gx_body =  GYRO_RATE_LIMIT;
	         if (gx_body < -GYRO_RATE_LIMIT) gx_body = -GYRO_RATE_LIMIT;
	         if (gy_body >  GYRO_RATE_LIMIT) gy_body =  GYRO_RATE_LIMIT;
	         if (gy_body < -GYRO_RATE_LIMIT) gy_body = -GYRO_RATE_LIMIT;

	         float gx_f = lpf_apply(&lpf_gx, gx_body);
	         float gy_f = lpf_apply(&lpf_gy, gy_body);

	         #define ZERO_SAMPLES 200
	         static int zero_sample_cnt = 0;
	         static float zero_roll_acc = 0.0f;
	         static float zero_pitch_acc = 0.0f;

	         if (!zero_offsets_captured) {
	             if (czy_zgoda_na_prace_rpi5) {
	                 zero_roll_acc  += roll_f;
	                 zero_pitch_acc += pitch_f;
	                 zero_sample_cnt++;

	                 if (zero_sample_cnt >= ZERO_SAMPLES) {
	                     roll_zero  = zero_roll_acc  / (float)zero_sample_cnt;
	                     pitch_zero = zero_pitch_acc / (float)zero_sample_cnt;
	                     zero_offsets_captured = 1;

	                     char zmsg[80];
	                     int l = snprintf(zmsg, sizeof(zmsg),
	                         "Zero captured: roll_zero=%.3f pitch_zero=%.3f samples=%d\r\n",
	                         roll_zero, pitch_zero, zero_sample_cnt);
	                     if (l>0 && !uart_tx_busy) HAL_UART_Transmit(&huart2, (uint8_t*)zmsg, (uint16_t)l, 50);
	                     zero_roll_acc = 0.0f;
	                     zero_pitch_acc = 0.0f;
	                     zero_sample_cnt = 0;
	                 }
	             } else {
	                 zero_roll_acc = 0.0f;
	                 zero_pitch_acc = 0.0f;
	                 zero_sample_cnt = 0;
	             }
	         }

	         roll_corrected  = roll_f  - roll_zero;
	         pitch_corrected = pitch_f - pitch_zero;

	         if ( (fabsf(roll_corrected) > 35.0f || fabsf(pitch_corrected) > 35.0f))
	         {
	             tilt_kill_active = true;

	             czy_zgoda_na_prace_rpi5 = false;
	             throttle = 0.0f;

	             __HAL_TIM_SET_COMPARE(&htim3, TIM_CHANNEL_4,100 ); //lewa gora
	             __HAL_TIM_SET_COMPARE(&htim15, TIM_CHANNEL_2, 100); // praswy przod
	             	   __HAL_TIM_SET_COMPARE(&htim3, TIM_CHANNEL_1, 100);
	             		__HAL_TIM_SET_COMPARE(&htim15, TIM_CHANNEL_1, 100 );

	             pid_angle_roll.integrator  = 0.0f; pid_angle_roll.last_error  = 0.0f;
	             pid_angle_pitch.integrator = 0.0f; pid_angle_pitch.last_error = 0.0f;
	             pid_rate_roll.integrator   = 0.0f; pid_rate_roll.last_error   = 0.0f;
	             pid_rate_pitch.integrator  = 0.0f; pid_rate_pitch.last_error  = 0.0f;
	             pid_rate_yaw.integrator    = 0.0f; pid_rate_yaw.last_error    = 0.0f;

	             if (!uart_tx_busy) {
	                 char tmsg[80];
	                 int l = snprintf(tmsg, sizeof(tmsg),
	                     "TILT KILL ACTIVATED roll=%.2f pitch=%.2f\r\n",
	                     roll_corrected, pitch_corrected);
	                 send_telemetry_dma(tmsg, (size_t)l);
	             }
	             	 	 break;
	         }

	         static float roll_rate_setpoint = 0.0f;
	         static float pitch_rate_setpoint = 0.0f;
	         static float angle_dt_acc = 0.0f;
	         angle_dt_acc += dt;

	         //  ANGLE LOOP

	         if (++angle_div >= 5) {   // 1kHz / 5 = 200 Hz
	             angle_div = 0;

	             float roll_err  = desired_roll_deg  - roll_corrected;
	             float pitch_err = desired_pitch_deg - pitch_corrected;

	             roll_rate_setpoint  = pid_angle_roll.kp  * roll_err;
	             pitch_rate_setpoint = pid_angle_pitch.kp * pitch_err;

	             roll_rate_setpoint  = constrain(roll_rate_setpoint,  -10.0f, 10.0f);
	             pitch_rate_setpoint = constrain(pitch_rate_setpoint, -10.0f, 10.0f);
	         }

	         /* RATE PID */
	         roll_rate_out  = pid_update_rate(&pid_rate_roll,
	                                          roll_rate_setpoint,
	                                          gx_f,
	                                          dt);

	         pitch_rate_out = pid_update_rate(&pid_rate_pitch,
	                                          pitch_rate_setpoint,
	                                          gy_f,
	                                          dt);

	         yaw_rate_out   = pid_update_rate(&pid_rate_yaw,
	                                          desired_yaw_rate,
	                                          gz_body,
	                                          dt);

	         float roll_cmd_norm  = roll_rate_out / 12.0f;
	         float pitch_cmd_norm = pitch_rate_out / 12.0f;
	         float yaw_cmd_norm   = yaw_rate_out / 12.0f;

	         if (roll_cmd_norm >  1.0f) roll_cmd_norm =  1.0f;
	         if (roll_cmd_norm < -1.0f) roll_cmd_norm = -1.0f;
	         if (pitch_cmd_norm >  1.0f) pitch_cmd_norm =  1.0f;
	         if (pitch_cmd_norm < -1.0f) pitch_cmd_norm = -1.0f;
	         if (yaw_cmd_norm >  1.0f) yaw_cmd_norm =  1.0f;
	         if (yaw_cmd_norm < -1.0f) yaw_cmd_norm = -1.0f;

	         uint32_t m1=0, m2=0, m3=0, m4=0;

	         yaw_cmd_norm = 0.0f; // tylko do testu

	        // float max_cmd = throttle * 1.2f;   // skala momentu
	         float max_cmd = 1.0f;

	         if (roll_cmd_norm >  max_cmd) roll_cmd_norm =  max_cmd;
	         if (roll_cmd_norm < -max_cmd) roll_cmd_norm = -max_cmd;
	         if (pitch_cmd_norm >  max_cmd) pitch_cmd_norm =  max_cmd;
	         if (pitch_cmd_norm < -max_cmd) pitch_cmd_norm = -max_cmd;

	         mixer_quad_x(throttle, roll_cmd_norm, pitch_cmd_norm, yaw_cmd_norm, &m1, &m2, &m3, &m4);

	         if (m1 < PWM_MIN_M1) { m1 = PWM_MIN_M1; }
	         if (m1 > PWM_MAX_M1) { m1 = PWM_MAX_M1; }

	         if (m2 < PWM_MIN_M2) { m2 = PWM_MIN_M2; }
	         if (m2 > PWM_MAX_M2) { m2 = PWM_MAX_M2; }

	         if (m3 < PWM_MIN) { m3 = PWM_MIN; }
	         if (m3 > PWM_MAX) { m3 = PWM_MAX; }
	         if (m4 < PWM_MIN_M4) { m4 = PWM_MIN_M4; }
	         if (m4 > PWM_MAX_M4) { m4 = PWM_MAX_M4; }
	         apply_safe_pwm_all(1, m1);
	         apply_safe_pwm_all(2, m2);
	         apply_safe_pwm_all(3, m3);
	         apply_safe_pwm_all(4, m4);
	         static uint32_t tele_last = 0;
	         uint32_t now_ms = HAL_GetTick();
//
	         float m1_pct = 100.0f * ((float)m1 - PWM_MIN_M1) / (PWM_MAX_M1 - PWM_MIN_M1);
	         float m2_pct = 100.0f * ((float)m2 - PWM_MIN_M2) / (PWM_MAX_M2 - PWM_MIN_M2);
	         float m3_pct = 100.0f * ((float)m3 - PWM_MIN) / (PWM_MAX - PWM_MIN);
	         float m4_pct = 100.0f * ((float)m4 - PWM_MIN_M4) / (PWM_MAX_M4 - PWM_MIN_M4);

	         if ((now_ms - tele_last) >= 70) {
	             tele_last = now_ms;
	             char tbuf[150];

	             int len = snprintf(tbuf, sizeof(tbuf),
	                 "ANG R:%.2f P:%.2f "
	                 "sp R:%.1f P:%.1f "
	                 "me R:%.1f P:%.1f Y:%.1f "
	                 "out R:%.1f P:%.1f "
	                 "M %.2f %.2f %.2f %.2f "
	                 "DES R:%.1f P:%.1f\r\n",

	                 roll_corrected,
	                 pitch_corrected,

	                 roll_rate_setpoint,
	                 pitch_rate_setpoint,

	                 gx_f, gy_f, gz_body,

	                 roll_rate_out,
	                 pitch_rate_out,

	                 m1_pct, m2_pct, m3_pct, m4_pct,

	                 desired_roll_deg,
	                 desired_pitch_deg
	             );

	             if (len > 0 && !uart_tx_busy)
	                 send_telemetry_dma(tbuf, (size_t)len);
	         }

	     }

	  //ax, ay, az,
	  //Ax:%.2f Ay:%.2f Az:%.2f
}
  /* USER CODE END 3 */
}

void SystemClock_Config(void)
{
  RCC_OscInitTypeDef RCC_OscInitStruct = {0};
  RCC_ClkInitTypeDef RCC_ClkInitStruct = {0};

  /** Configure the main internal regulator output voltage
  */
  if (HAL_PWREx_ControlVoltageScaling(PWR_REGULATOR_VOLTAGE_SCALE1) != HAL_OK)
  {
    Error_Handler();
  }

  /** Initializes the RCC Oscillators according to the specified parameters
  * in the RCC_OscInitTypeDef structure.
  */
  RCC_OscInitStruct.OscillatorType = RCC_OSCILLATORTYPE_MSI;
  RCC_OscInitStruct.MSIState = RCC_MSI_ON;
  RCC_OscInitStruct.MSICalibrationValue = 0;
  RCC_OscInitStruct.MSIClockRange = RCC_MSIRANGE_6;
  RCC_OscInitStruct.PLL.PLLState = RCC_PLL_ON;
  RCC_OscInitStruct.PLL.PLLSource = RCC_PLLSOURCE_MSI;
  RCC_OscInitStruct.PLL.PLLM = 1;
  RCC_OscInitStruct.PLL.PLLN = 40;
  RCC_OscInitStruct.PLL.PLLP = RCC_PLLP_DIV7;
  RCC_OscInitStruct.PLL.PLLQ = RCC_PLLQ_DIV2;
  RCC_OscInitStruct.PLL.PLLR = RCC_PLLR_DIV2;
  if (HAL_RCC_OscConfig(&RCC_OscInitStruct) != HAL_OK)
  {
    Error_Handler();
  }

  /** Initializes the CPU, AHB and APB buses clocks
  */
  RCC_ClkInitStruct.ClockType = RCC_CLOCKTYPE_HCLK|RCC_CLOCKTYPE_SYSCLK
                              |RCC_CLOCKTYPE_PCLK1|RCC_CLOCKTYPE_PCLK2;
  RCC_ClkInitStruct.SYSCLKSource = RCC_SYSCLKSOURCE_PLLCLK;
  RCC_ClkInitStruct.AHBCLKDivider = RCC_SYSCLK_DIV1;
  RCC_ClkInitStruct.APB1CLKDivider = RCC_HCLK_DIV1;
  RCC_ClkInitStruct.APB2CLKDivider = RCC_HCLK_DIV1;

  if (HAL_RCC_ClockConfig(&RCC_ClkInitStruct, FLASH_LATENCY_4) != HAL_OK)
  {
    Error_Handler();
  }
}

static void MX_I2C2_Init(void)
{

  hi2c2.Instance = I2C2;
  hi2c2.Init.Timing = 0x00B10E24;
  hi2c2.Init.OwnAddress1 = 0;
  hi2c2.Init.AddressingMode = I2C_ADDRESSINGMODE_7BIT;
  hi2c2.Init.DualAddressMode = I2C_DUALADDRESS_DISABLE;
  hi2c2.Init.OwnAddress2 = 0;
  hi2c2.Init.OwnAddress2Masks = I2C_OA2_NOMASK;
  hi2c2.Init.GeneralCallMode = I2C_GENERALCALL_DISABLE;
  hi2c2.Init.NoStretchMode = I2C_NOSTRETCH_DISABLE;
  if (HAL_I2C_Init(&hi2c2) != HAL_OK)
  {
    Error_Handler();
  }

  /** Configure Analogue filter
  */
  if (HAL_I2CEx_ConfigAnalogFilter(&hi2c2, I2C_ANALOGFILTER_ENABLE) != HAL_OK)
  {
    Error_Handler();
  }

  /** Configure Digital filter
  */
  if (HAL_I2CEx_ConfigDigitalFilter(&hi2c2, 0) != HAL_OK)
  {
    Error_Handler();
  }

  /** I2C Fast mode Plus enable
  */
  HAL_I2CEx_EnableFastModePlus(I2C_FASTMODEPLUS_I2C2);

}

static void MX_SPI1_Init(void)
{

  /* SPI1 parameter configuration*/
  hspi1.Instance = SPI1;
  hspi1.Init.Mode = SPI_MODE_SLAVE;
  hspi1.Init.Direction = SPI_DIRECTION_2LINES;
  hspi1.Init.DataSize = SPI_DATASIZE_8BIT;
  hspi1.Init.CLKPolarity = SPI_POLARITY_LOW;
  hspi1.Init.CLKPhase = SPI_PHASE_1EDGE;
  hspi1.Init.NSS = SPI_NSS_HARD_INPUT;
  hspi1.Init.FirstBit = SPI_FIRSTBIT_MSB;
  hspi1.Init.TIMode = SPI_TIMODE_DISABLE;
  hspi1.Init.CRCCalculation = SPI_CRCCALCULATION_DISABLE;
  hspi1.Init.CRCPolynomial = 7;
  hspi1.Init.CRCLength = SPI_CRC_LENGTH_DATASIZE;
  hspi1.Init.NSSPMode = SPI_NSS_PULSE_DISABLE;
  if (HAL_SPI_Init(&hspi1) != HAL_OK)
  {
    Error_Handler();
  }

}

static void MX_TIM3_Init(void)
{

  TIM_MasterConfigTypeDef sMasterConfig = {0};
  TIM_OC_InitTypeDef sConfigOC = {0};

  htim3.Instance = TIM3;
  htim3.Init.Prescaler = 79;
  htim3.Init.CounterMode = TIM_COUNTERMODE_UP;
  htim3.Init.Period = 19999;
  htim3.Init.ClockDivision = TIM_CLOCKDIVISION_DIV1;
  htim3.Init.AutoReloadPreload = TIM_AUTORELOAD_PRELOAD_DISABLE;
  if (HAL_TIM_PWM_Init(&htim3) != HAL_OK)
  {
    Error_Handler();
  }
  sMasterConfig.MasterOutputTrigger = TIM_TRGO_RESET;
  sMasterConfig.MasterSlaveMode = TIM_MASTERSLAVEMODE_DISABLE;
  if (HAL_TIMEx_MasterConfigSynchronization(&htim3, &sMasterConfig) != HAL_OK)
  {
    Error_Handler();
  }
  sConfigOC.OCMode = TIM_OCMODE_PWM1;
  sConfigOC.Pulse = 0;
  sConfigOC.OCPolarity = TIM_OCPOLARITY_HIGH;
  sConfigOC.OCFastMode = TIM_OCFAST_DISABLE;
  if (HAL_TIM_PWM_ConfigChannel(&htim3, &sConfigOC, TIM_CHANNEL_1) != HAL_OK)
  {
    Error_Handler();
  }
  if (HAL_TIM_PWM_ConfigChannel(&htim3, &sConfigOC, TIM_CHANNEL_3) != HAL_OK)
  {
    Error_Handler();
  }
  if (HAL_TIM_PWM_ConfigChannel(&htim3, &sConfigOC, TIM_CHANNEL_4) != HAL_OK)
  {
    Error_Handler();
  }
  HAL_TIM_MspPostInit(&htim3);

}

static void MX_TIM6_Init(void)
{

  TIM_MasterConfigTypeDef sMasterConfig = {0};

  htim6.Instance = TIM6;
  htim6.Init.Prescaler = 7999;
  htim6.Init.CounterMode = TIM_COUNTERMODE_UP;
  htim6.Init.Period = 29999;
  htim6.Init.AutoReloadPreload = TIM_AUTORELOAD_PRELOAD_DISABLE;
  if (HAL_TIM_Base_Init(&htim6) != HAL_OK)
  {
    Error_Handler();
  }
  sMasterConfig.MasterOutputTrigger = TIM_TRGO_RESET;
  sMasterConfig.MasterSlaveMode = TIM_MASTERSLAVEMODE_DISABLE;
  if (HAL_TIMEx_MasterConfigSynchronization(&htim6, &sMasterConfig) != HAL_OK)
  {
    Error_Handler();
  }

}

static void MX_TIM7_Init(void)
{

  TIM_MasterConfigTypeDef sMasterConfig = {0};

  htim7.Instance = TIM7;
  htim7.Init.Prescaler = 7999;
  htim7.Init.CounterMode = TIM_COUNTERMODE_UP;
  htim7.Init.Period = 19;
  htim7.Init.AutoReloadPreload = TIM_AUTORELOAD_PRELOAD_DISABLE;
  if (HAL_TIM_Base_Init(&htim7) != HAL_OK)
  {
    Error_Handler();
  }
  sMasterConfig.MasterOutputTrigger = TIM_TRGO_RESET;
  sMasterConfig.MasterSlaveMode = TIM_MASTERSLAVEMODE_DISABLE;
  if (HAL_TIMEx_MasterConfigSynchronization(&htim7, &sMasterConfig) != HAL_OK)
  {
    Error_Handler();
  }

}

static void MX_TIM15_Init(void)
{

  TIM_MasterConfigTypeDef sMasterConfig = {0};
  TIM_OC_InitTypeDef sConfigOC = {0};
  TIM_BreakDeadTimeConfigTypeDef sBreakDeadTimeConfig = {0};

  htim15.Instance = TIM15;
  htim15.Init.Prescaler = 79;
  htim15.Init.CounterMode = TIM_COUNTERMODE_UP;
  htim15.Init.Period = 19999;
  htim15.Init.ClockDivision = TIM_CLOCKDIVISION_DIV1;
  htim15.Init.RepetitionCounter = 0;
  htim15.Init.AutoReloadPreload = TIM_AUTORELOAD_PRELOAD_DISABLE;
  if (HAL_TIM_PWM_Init(&htim15) != HAL_OK)
  {
    Error_Handler();
  }
  sMasterConfig.MasterOutputTrigger = TIM_TRGO_RESET;
  sMasterConfig.MasterSlaveMode = TIM_MASTERSLAVEMODE_DISABLE;
  if (HAL_TIMEx_MasterConfigSynchronization(&htim15, &sMasterConfig) != HAL_OK)
  {
    Error_Handler();
  }
  sConfigOC.OCMode = TIM_OCMODE_PWM1;
  sConfigOC.Pulse = 0;
  sConfigOC.OCPolarity = TIM_OCPOLARITY_HIGH;
  sConfigOC.OCNPolarity = TIM_OCNPOLARITY_HIGH;
  sConfigOC.OCFastMode = TIM_OCFAST_DISABLE;
  sConfigOC.OCIdleState = TIM_OCIDLESTATE_RESET;
  sConfigOC.OCNIdleState = TIM_OCNIDLESTATE_RESET;
  if (HAL_TIM_PWM_ConfigChannel(&htim15, &sConfigOC, TIM_CHANNEL_1) != HAL_OK)
  {
    Error_Handler();
  }
  if (HAL_TIM_PWM_ConfigChannel(&htim15, &sConfigOC, TIM_CHANNEL_2) != HAL_OK)
  {
    Error_Handler();
  }
  sBreakDeadTimeConfig.OffStateRunMode = TIM_OSSR_DISABLE;
  sBreakDeadTimeConfig.OffStateIDLEMode = TIM_OSSI_DISABLE;
  sBreakDeadTimeConfig.LockLevel = TIM_LOCKLEVEL_OFF;
  sBreakDeadTimeConfig.DeadTime = 0;
  sBreakDeadTimeConfig.BreakState = TIM_BREAK_DISABLE;
  sBreakDeadTimeConfig.BreakPolarity = TIM_BREAKPOLARITY_HIGH;
  sBreakDeadTimeConfig.AutomaticOutput = TIM_AUTOMATICOUTPUT_DISABLE;
  if (HAL_TIMEx_ConfigBreakDeadTime(&htim15, &sBreakDeadTimeConfig) != HAL_OK)
  {
    Error_Handler();
  }
  HAL_TIM_MspPostInit(&htim15);

}

static void MX_TIM16_Init(void)
{

  htim16.Instance = TIM16;
  htim16.Init.Prescaler = 7999;
  htim16.Init.CounterMode = TIM_COUNTERMODE_UP;
  htim16.Init.Period = 999;
  htim16.Init.ClockDivision = TIM_CLOCKDIVISION_DIV1;
  htim16.Init.RepetitionCounter = 0;
  htim16.Init.AutoReloadPreload = TIM_AUTORELOAD_PRELOAD_DISABLE;
  if (HAL_TIM_Base_Init(&htim16) != HAL_OK)
  {
    Error_Handler();
  }

}

static void MX_TIM17_Init(void)
{

  htim17.Instance = TIM17;
  htim17.Init.Prescaler = 79;
  htim17.Init.CounterMode = TIM_COUNTERMODE_UP;
  htim17.Init.Period = 999;
  htim17.Init.ClockDivision = TIM_CLOCKDIVISION_DIV1;
  htim17.Init.RepetitionCounter = 0;
  htim17.Init.AutoReloadPreload = TIM_AUTORELOAD_PRELOAD_DISABLE;
  if (HAL_TIM_Base_Init(&htim17) != HAL_OK)
  {
    Error_Handler();
  }

}

static void MX_USART2_UART_Init(void)
{

  huart2.Instance = USART2;
  huart2.Init.BaudRate = 115200;
  huart2.Init.WordLength = UART_WORDLENGTH_8B;
  huart2.Init.StopBits = UART_STOPBITS_1;
  huart2.Init.Parity = UART_PARITY_NONE;
  huart2.Init.Mode = UART_MODE_TX_RX;
  huart2.Init.HwFlowCtl = UART_HWCONTROL_NONE;
  huart2.Init.OverSampling = UART_OVERSAMPLING_16;
  huart2.Init.OneBitSampling = UART_ONE_BIT_SAMPLE_DISABLE;
  huart2.AdvancedInit.AdvFeatureInit = UART_ADVFEATURE_NO_INIT;
  if (HAL_UART_Init(&huart2) != HAL_OK)
  {
    Error_Handler();
  }
  /* USER CODE BEGIN USART2_Init 2 */
  __HAL_LINKDMA(&huart2, hdmatx, hdma_usart2_tx);

  /* USER CODE END USART2_Init 2 */

}

static void MX_DMA_Init(void)
{

  /* DMA controller clock enable */
  __HAL_RCC_DMA1_CLK_ENABLE();

  /* DMA interrupt init */
  /* DMA1_Channel2_IRQn interrupt configuration */
  HAL_NVIC_SetPriority(DMA1_Channel2_IRQn, 0, 0);
  HAL_NVIC_EnableIRQ(DMA1_Channel2_IRQn);
  /* DMA1_Channel7_IRQn interrupt configuration */
  HAL_NVIC_SetPriority(DMA1_Channel7_IRQn, 0, 0);
  HAL_NVIC_EnableIRQ(DMA1_Channel7_IRQn);

}

static void MX_GPIO_Init(void)
{

  /* GPIO Ports Clock Enable */
  __HAL_RCC_GPIOA_CLK_ENABLE();
  __HAL_RCC_GPIOB_CLK_ENABLE();

}

void Error_Handler(void)
{
  __disable_irq();
  while (1)
  {
  }
}
